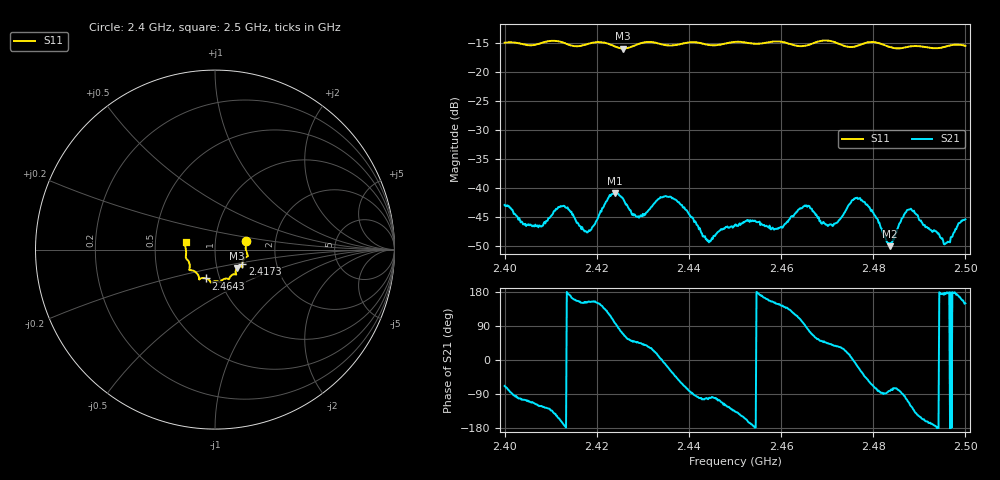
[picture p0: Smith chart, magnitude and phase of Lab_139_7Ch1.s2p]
# Hz S RI R 50
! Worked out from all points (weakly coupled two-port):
!   601 points, 2.4 GHz to 2.5 GHz, reference 50 ohm
!   highest |S21| = -40.82 dB at 2.424 GHz (marker M1); lowest = -50.0 dB at 2.4837 GHz (marker M2)
!   lowest |S11| = -15.9 dB at 2.4257 GHz (marker M3), VSWR 1.38, Z = 62.5 - j13.2 ohm
!   |S11| at or under -10 dB: start of sweep to end of sweep
!   S12 and S22 are empty: the file has one direction only
!   S11 on the Smith chart (normalised r, x): 2.4 GHz: 1.41, +0.14; 2.4173 GHz: 1.34, -0.22; 2.4643 GHz: 0.86, -0.28; 2.5 GHz: 0.72, +0.06
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2.4e9  0.1733 0.0492  0.00263 -0.00667  0 0  0 0
2.4075e9  0.1759 -0.016  -0.00252 -0.00406  0 0  0 0
2.413167e9  0.1726 -0.0422  -0.00682 -0.000575  0 0  0 0
2.416667e9  0.1525 -0.0742  -0.00389 0.00214  0 0  0 0
2.417333e9  0.1518 -0.0816  -0.0038 0.00192  0 0  0 0
2.424e9  0.1376 -0.0946  -0.00103 0.00904  0 0  0 0
2.425667e9  0.1234 -0.1027  0.0029 0.00764  0 0  0 0
2.429e9  0.1156 -0.1319  0.00399 0.00413  0 0  0 0
2.433333e9  0.1123 -0.1375  0.0079 0.00161  0 0  0 0
2.4375e9  0.0844 -0.1509  0.00506 -0.0058  0 0  0 0
2.444167e9  0.0622 -0.161  -0.000831 -0.00345  0 0  0 0
2.45e9  0.0287 -0.1811  -0.00348 -0.00337  0 0  0 0
2.459e9  -0.0226 -0.1837  -0.0038 0.00231  0 0  0 0
2.464333e9  -0.0496 -0.1605  -0.00169 0.00649  0 0  0 0
2.466667e9  -0.0758 -0.1593  0.00243 0.00621  0 0  0 0
2.471333e9  -0.0877 -0.1614  0.00373 0.00298  0 0  0 0
2.477e9  -0.1269 -0.1159  0.0075 -0.00334  0 0  0 0
2.483333e9  -0.1404 -0.0895  0.000463 -0.00329  0 0  0 0
2.483667e9  -0.1409 -0.0859  0.000473 -0.00313  0 0  0 0
2.487833e9  -0.1589 -0.0512  -0.00268 -0.006  0 0  0 0
2.495833e9  -0.1664 0.0181  -0.00337 0.000253  0 0  0 0
2.5e9  -0.1637 0.0428  -0.00465 0.00275  0 0  0 0
